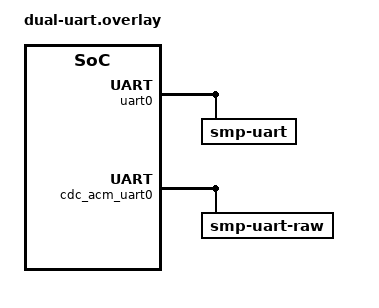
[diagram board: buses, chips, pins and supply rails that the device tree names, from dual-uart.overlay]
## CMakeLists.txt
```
cmake_minimum_required(VERSION 3.28.0)
# Top-level CMakeLists.txt for the skeleton application.
#
# Copyright (c) 2017 Open Source Foundries Limited
#
# SPDX-License-Identifier: Apache-2.0
#
# This provides a basic application structure suitable for communication using
# mcumgr.  It can be used as a starting point for new applications.

# Standard Zephyr application boilerplate.
find_package(Zephyr REQUIRED HINTS $ENV{ZEPHYR_BASE})
project(smp_svr)

target_sources(app PRIVATE src/main.c)
target_sources_ifdef(CONFIG_MCUMGR_TRANSPORT_BT app PRIVATE src/bluetooth.c)

if(CONFIG_MCUMGR_TRANSPORT_UDP_DTLS)
  # Use dummy certificate files
  set(cert_dir certificates)
  set(cert_files echo-apps-cert.der;echo-apps-key.der)
  set(gen_dir ${ZEPHYR_BINARY_DIR}/include/generated)

  message(WARNING "Using dummy certificate files, these are provided for demonstration only")

  foreach(inc_file ${cert_files})
    generate_inc_file_for_target(
      app
      ${cert_dir}/${inc_file}
      ${gen_dir}/${inc_file}.inc
    )
  endforeach()

  target_sources(app PRIVATE src/udp_dtls.c)
endif()
```

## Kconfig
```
# Copyright (c) 2025 Nordic Semiconductor ASA
# SPDX-License-Identifier: Apache-2.0

config SMP_SVR_NRF54H20_SAMPLE
	bool
	default y if SOC_NRF54H20_CPUAPP
	select EXPERIMENTAL

source "Kconfig.zephyr"
```

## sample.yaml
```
sample:
  description: Simple Management Protocol sample
  name: smp svr
common:
  sysbuild: true
  build_only: true
tests:
  sample.mcumgr.smp_svr.bt:
    harness: bluetooth
    tags: bluetooth
    extra_args: EXTRA_CONF_FILE="bt.conf"
    platform_allow:
      - nrf52dk/nrf52832
      - nrf52840dk/nrf52840
      - pinnacle_100_dvk
      - mg100
    integration_platforms:
      - nrf52dk/nrf52832
      - nrf52840dk/nrf52840
  sample.mcumgr.smp_svr.bt_static_svc:
    harness: bluetooth
    tags: bluetooth
    extra_args: EXTRA_CONF_FILE="bt.conf"
    extra_configs:
      - CONFIG_MCUMGR_TRANSPORT_BT_DYNAMIC_SVC_REGISTRATION=n
    platform_allow:
      - nrf52840dk/nrf52840
      - pinnacle_100_dvk
      - mg100
    integration_platforms:
      - nrf52840dk/nrf52840
  sample.mcumgr.smp_svr.udp:
    extra_args: EXTRA_CONF_FILE="udp.conf"
    platform_allow:
      - frdm_mcxn947/mcxn947/cpu0
      - mcx_n9xx_evk/mcxn947/cpu0
      - frdm_k64f
    integration_platforms:
      - frdm_k64f
  sample.mcumgr.smp_svr.udp-dtls:
    extra_args:
      - EXTRA_CONF_FILE="udp-dtls.conf"
      - CONFIG_IMG_MANAGER=n
      - SB_CONFIG_BOOTLOADER_NONE=y
    platform_allow:
      - native_sim
    integration_platforms:
      - native_sim
    build_only: true
  sample.mcumgr.smp_svr.udp.802154.subg:
    extra_args: EXTRA_CONF_FILE="udp.conf;802154-subg.conf"
    platform_allow: beagleconnect_freedom
  sample.mcumgr.smp_svr.cdc:
    extra_args:
      - EXTRA_CONF_FILE="cdc.conf"
      - DTC_OVERLAY_FILE="usb.overlay"
    platform_allow:
      - frdm_mcxn947/mcxn947/cpu0
      - mcx_n9xx_evk/mcxn947/cpu0
      - nrf52833dk/nrf52820
      - nrf52833dk/nrf52833
      - nrf52840dk/nrf52840
      - nrf5340dk/nrf5340/cpuapp
      - pinnacle_100_dvk
    integration_platforms:
      - nrf52833dk/nrf52820
      - nrf52833dk/nrf52833
      - nrf52840dk/nrf52840
      - nrf5340dk/nrf5340/cpuapp
  sample.mcumgr.smp_svr.serial:
    extra_args: EXTRA_CONF_FILE="serial.conf"
    platform_allow:
      - frdm_k22f
      - frdm_k64f
      - frdm_k82f
      - frdm_ke17z
      - frdm_ke17z512
      - rddrone_fmuk66
      - twr_ke18f
      - twr_kv58f220m
      - frdm_mcxn947/mcxn947/cpu0
      - mcx_n9xx_evk/mcxn947/cpu0
      - lpcxpresso55s06
      - lpcxpresso55s16
      - lpcxpresso55s28
      - lpcxpresso55s36
      - lpcxpresso55s69/lpc55s69/cpu0
      - mimxrt1010_evk
      - mimxrt1015_evk
      - mimxrt1020_evk
      - mimxrt1024_evk
      - mimxrt1040_evk
      - mimxrt1050_evk/mimxrt1052/hyperflash
      - mimxrt1060_evk/mimxrt1062/qspi
      - mimxrt1062_fmurt6
      - mimxrt1064_evk
      - mimxrt1160_evk/mimxrt1166/cm7
      - mimxrt1170_evk/mimxrt1176/cm7
      - vmu_rt1170/mimxrt1176/cm7
      - mimxrt595_evk/mimxrt595s/cm33
      - mimxrt685_evk/mimxrt685s/cm33
      - rd_rw612_bga
      - nrf52840dk/nrf52840
      - nrf54h20dk/nrf54h20/cpuapp
      - pinnacle_100_dvk
      - mg100
    integration_platforms:
      - nrf52840dk/nrf52840
  # In mcuboot_flags test serial.conf is used for convenience as it is the simplest
  # transport. Transport does not affect flags so it does not really matter which is selected,
  # flags should affect any transport the same way.
  sample.mcumgr.smp_svr.mcuboot_flags.direct_xip_withrevert:
    extra_args:
      - EXTRA_CONF_FILE="serial.conf"
      - SB_CONFIG_MCUBOOT_MODE_DIRECT_XIP_WITH_REVERT=y
    platform_allow:
      - nrf52840dk/nrf52840
      - pinnacle_100_dvk
      - mg100
    integration_platforms:
      - nrf52840dk/nrf52840
  sample.mcumgr.smp_svr.serial-console:
    extra_args: EXTRA_CONF_FILE="serial-console.conf"
    platform_allow:
      - nrf52840dk/nrf52840
      - pinnacle_100_dvk
      - mg100
    integration_platforms:
      - nrf52840dk/nrf52840
  sample.mcumgr.smp_svr.shell:
    extra_args: EXTRA_CONF_FILE="shell.conf"
    platform_allow:
      - frdm_k22f
      - frdm_k64f
      - frdm_k82f
      - frdm_ke17z
      - frdm_ke17z512
      - rddrone_fmuk66
      - twr_ke18f
      - twr_kv58f220m
      - frdm_mcxn947/mcxn947/cpu0
      - mcx_n9xx_evk/mcxn947/cpu0
      - lpcxpresso55s06
      - lpcxpresso55s16
      - lpcxpresso55s28
      - lpcxpresso55s36
      - lpcxpresso55s69/lpc55s69/cpu0
      - mimxrt1010_evk
      - mimxrt1015_evk
      - mimxrt1020_evk
      - mimxrt1024_evk
      - mimxrt1040_evk
      - mimxrt1050_evk/mimxrt1052/hyperflash
      - mimxrt1060_evk/mimxrt1062/qspi
      - mimxrt1062_fmurt6
      - mimxrt1064_evk
      - mimxrt1160_evk/mimxrt1166/cm7
      - mimxrt1170_evk/mimxrt1176/cm7
      - vmu_rt1170/mimxrt1176/cm7
      - mimxrt595_evk/mimxrt595s/cm33
      - mimxrt685_evk/mimxrt685s/cm33
      - rd_rw612_bga
      - nrf52840dk/nrf52840
      - pinnacle_100_dvk
      - mg100
    integration_platforms:
      - nrf52840dk/nrf52840
      - mimxrt1060_evk/mimxrt1062/qspi
      - mimxrt1064_evk
  sample.mcumgr.smp_svr.shell_mgmt:
    extra_args: EXTRA_CONF_FILE="shell-mgmt.conf"
    platform_allow:
      - nrf52840dk/nrf52840
      - pinnacle_100_dvk
      - mg100
    integration_platforms:
      - nrf52840dk/nrf52840
  sample.mcumgr.smp_svr.fs:
    extra_args: EXTRA_CONF_FILE="fs.conf"
    platform_allow:
      - nrf52840dk/nrf52840
      - pinnacle_100_dvk
      - mg100
    integration_platforms:
      - nrf52840dk/nrf52840
  sample.mcumgr.smp_svr.ram_load:
    extra_args: FILE_SUFFIX="ram_load"
    platform_allow:
      - nrf52840dk/nrf52840
    integration_platforms:
      - nrf52840dk/nrf52840
  sample.mcumgr.smp_svr.ram_load.serial:
    extra_args:
      - FILE_SUFFIX="ram_load"
      - EXTRA_CONF_FILE="serial.conf"
    platform_allow:
      - nrf52840dk/nrf52840
      - mimxrt1050_evk/mimxrt1052/hyperflash
  sample.mcumgr.smp_svr.ram_load_revert.serial:
    extra_args:
      - FILE_SUFFIX="ram_load"
      - EXTRA_CONF_FILE="serial.conf"
      - SB_CONFIG_MCUBOOT_MODE_RAM_LOAD_WITH_REVERT=y
      - smp_svr_CONFIG_MCUBOOT_GENERATE_CONFIRMED_IMAGE=y
    platform_allow:
      - mimxrt1050_evk/mimxrt1052/hyperflash
    integration_platforms:
      - mimxrt1050_evk/mimxrt1052/hyperflash
  sample.mcumgr.smp_svr.raw-serial.fs:
    extra_args: EXTRA_CONF_FILE="raw-serial.conf;fs.conf"
    platform_allow:
      - nrf52840dk/nrf52840
    integration_platforms:
      - nrf52840dk/nrf52840
  sample.mcumgr.smp_svr.ti_lpf3_bt_dfu_onchip_v1:
    sysbuild: true
    extra_args:
      - OVERLAY_CONFIG="bt.conf;boards/ti_lpf3_bt_dfu.conf"
      - mcuboot_SNIPPET=ti-max-sectors-onchip-cc27xx
    extra_configs:
      - CONFIG_MCUBOOT_IMGTOOL_SIGN_VERSION="1.0.0+0"
      - CONFIG_BT_DEVICE_NAME="TI Zephyr SMP DFU Onchip V1"
    platform_allow:
      - lp_em_cc2340r5moda
      - lp_em_cc2340r53
      - lp_em_cc2340r53_wcsp
      - lp_em_cc2745r10_q1/cc2745r10_q1
      - lp_em_cc2745r10_q1/cc2755r10
      - lp_em_cc2755p10
      - lp_em_cc2755p20
  sample.mcumgr.smp_svr.ti_lpf3_bt_dfu_onchip_v2:
    sysbuild: true
    extra_args:
      - OVERLAY_CONFIG="bt.conf;boards/ti_lpf3_bt_dfu.conf"
      - mcuboot_SNIPPET=ti-max-sectors-onchip-cc27xx
    extra_configs:
      - CONFIG_MCUBOOT_IMGTOOL_SIGN_VERSION="2.0.0+0"
      - CONFIG_BT_DEVICE_NAME="TI Zephyr SMP DFU Onchip V2"
    platform_allow:
      - lp_em_cc2340r5moda
      - lp_em_cc2340r53
      - lp_em_cc2340r53_wcsp
      - lp_em_cc2745r10_q1/cc2745r10_q1
      - lp_em_cc2745r10_q1/cc2755r10
      - lp_em_cc2755p10
      - lp_em_cc2755p20
  sample.mcumgr.smp_svr.ti_lpf3_bt_dfu_offchip_v1:
    sysbuild: true
    extra_args:
      - OVERLAY_CONFIG="bt.conf;boards/ti_lpf3_bt_dfu.conf"
      - SNIPPET="ti-spi-nor-secondary-app"
      - mcuboot_SNIPPET=ti-spi-nor-secondary-bl
    extra_configs:
      - CONFIG_MCUBOOT_IMGTOOL_SIGN_VERSION="1.0.0+0"
      - CONFIG_BT_DEVICE_NAME="TI Zephyr SMP DFU Offchip V1"
    platform_allow:
      - lp_em_cc2340r5moda
      - lp_em_cc2340r53
      - lp_em_cc2340r53_wcsp
      - lp_em_cc2745r10_q1/cc2745r10_q1
      - lp_em_cc2745r10_q1/cc2755r10
      - lp_em_cc2755p10
      - lp_em_cc2755p20
  sample.mcumgr.smp_svr.ti_lpf3_bt_dfu_offchip_v2:
    sysbuild: true
    extra_args:
      - OVERLAY_CONFIG="bt.conf;boards/ti_lpf3_bt_dfu.conf"
      - SNIPPET="ti-spi-nor-secondary-app"
      - mcuboot_SNIPPET=ti-spi-nor-secondary-bl
    extra_configs:
      - CONFIG_MCUBOOT_IMGTOOL_SIGN_VERSION="2.0.0+0"
      - CONFIG_BT_DEVICE_NAME="TI Zephyr SMP DFU Offchip V2"
    platform_allow:
      - lp_em_cc2340r5moda
      - lp_em_cc2340r53
      - lp_em_cc2340r53_wcsp
      - lp_em_cc2745r10_q1/cc2745r10_q1
      - lp_em_cc2745r10_q1/cc2755r10
      - lp_em_cc2755p10
      - lp_em_cc2755p20
```

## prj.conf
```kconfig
# Enable MCUmgr and dependencies.
CONFIG_NET_BUF=y
CONFIG_ZCBOR=y
CONFIG_CRC=y
CONFIG_MCUMGR=y
CONFIG_STREAM_FLASH=y
CONFIG_FLASH_MAP=y

# Some command handlers require a large stack.
CONFIG_SYSTEM_WORKQUEUE_STACK_MIN_SIZE_APP=2304
CONFIG_MAIN_STACK_SIZE=2176

# Ensure an MCUboot-compatible binary is generated.
CONFIG_BOOTLOADER_MCUBOOT=y

# Enable flash operations.
CONFIG_FLASH=y

# Required by the `taskstat` command.
CONFIG_THREAD_MONITOR=y

# Support for taskstat command
CONFIG_MCUMGR_GRP_OS_TASKSTAT=y

# Enable statistics and statistic names.
CONFIG_STATS=y
CONFIG_STATS_NAMES=y

# Enable most core commands.
CONFIG_FLASH=y
CONFIG_IMG_MANAGER=y
CONFIG_MCUMGR_GRP_IMG=y
CONFIG_MCUMGR_GRP_OS=y
CONFIG_MCUMGR_GRP_STAT=y

# Enable logging
CONFIG_LOG=y
CONFIG_MCUBOOT_UTIL_LOG_LEVEL_WRN=y

# Disable debug logging
CONFIG_LOG_MAX_LEVEL=3
```

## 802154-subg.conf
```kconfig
CONFIG_BT=n

# Disable IPv4
CONFIG_NET_IPV4=n
CONFIG_MCUMGR_TRANSPORT_UDP_IPV4=n

CONFIG_NET_CONFIG_NEED_IPV6=y
CONFIG_NET_CONFIG_NEED_IPV4=n
CONFIG_NET_CONFIG_MY_IPV4_ADDR=""
CONFIG_NET_CONFIG_PEER_IPV4_ADDR=""

CONFIG_NET_L2_IEEE802154=y
# CONFIG_NET_L2_IEEE802154_SHELL=y
CONFIG_NET_L2_IEEE802154_LOG_LEVEL_INF=y

# Uncomment for 868 MHz
#CONFIG_NET_CONFIG_IEEE802154_CHANNEL=0
# Uncomment for 906 MHz:
CONFIG_NET_CONFIG_IEEE802154_CHANNEL=1
```

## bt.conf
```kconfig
CONFIG_BT=y
CONFIG_BT_PERIPHERAL=y

# Allow for large Bluetooth data packets.
CONFIG_BT_L2CAP_TX_MTU=498
CONFIG_BT_BUF_ACL_RX_SIZE=502
CONFIG_BT_BUF_ACL_TX_SIZE=502
CONFIG_BT_CTLR_DATA_LENGTH_MAX=251

# Enable the Bluetooth mcumgr transport (unauthenticated).
CONFIG_MCUMGR_TRANSPORT_BT=y
CONFIG_MCUMGR_TRANSPORT_BT_CONN_PARAM_CONTROL=y

# Enable the Shell mcumgr transport.
CONFIG_BASE64=y
CONFIG_CRC=y
CONFIG_SHELL=y
CONFIG_SHELL_BACKEND_SERIAL=y
CONFIG_MCUMGR_TRANSPORT_SHELL=y

# Enable the mcumgr Packet Reassembly feature over Bluetooth and its configuration dependencies.
# MCUmgr buffer size is optimized to fit one SMP packet divided into five Bluetooth Write Commands,
# transmitted with the maximum possible MTU value: 498 bytes.
CONFIG_MCUMGR_TRANSPORT_BT_REASSEMBLY=y
CONFIG_MCUMGR_TRANSPORT_NETBUF_SIZE=2475
CONFIG_MCUMGR_GRP_OS_MCUMGR_PARAMS=y
CONFIG_MCUMGR_TRANSPORT_WORKQUEUE_STACK_SIZE=4608

# Enable the LittleFS file system.
CONFIG_FILE_SYSTEM=y
CONFIG_FILE_SYSTEM_LITTLEFS=y

# Enable file system commands
CONFIG_MCUMGR_GRP_FS=y

# Enable the storage erase command.
CONFIG_MCUMGR_GRP_ZBASIC=y
CONFIG_MCUMGR_GRP_ZBASIC_STORAGE_ERASE=y

# Disable Bluetooth ping support
CONFIG_BT_CTLR_LE_PING=n

# Disable shell commands that are not needed
CONFIG_CLOCK_CONTROL_NRF_SHELL=n
CONFIG_DEVICE_SHELL=n
CONFIG_DEVMEM_SHELL=n
CONFIG_FLASH_SHELL=n
```

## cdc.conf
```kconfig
# Enable USB subsystem
CONFIG_SERIAL=y
CONFIG_UART_LINE_CTRL=y
CONFIG_CONSOLE=y
CONFIG_UART_MCUMGR=y
CONFIG_USB_DEVICE_STACK_NEXT=y
CONFIG_CDC_ACM_SERIAL_INITIALIZE_AT_BOOT=y
# USB backend is serial device
CONFIG_MCUMGR_TRANSPORT_UART=y
CONFIG_BASE64=y
CONFIG_CRC=y
```

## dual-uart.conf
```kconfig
# SPDX-FileCopyrightText: Copyright The Zephyr Project Contributors
# SPDX-License-Identifier: Apache-2.0

# Enable both MCUmgr UART transports, on the UARTs selected in dual-uart.overlay: SMP over
# console on the console UART and raw on USB CDC ACM.
CONFIG_SERIAL=y
CONFIG_CONSOLE=y
CONFIG_BASE64=y
CONFIG_CRC=y
CONFIG_UART_MCUMGR=y
CONFIG_MCUMGR_TRANSPORT_UART=y
CONFIG_MCUMGR_TRANSPORT_RAW_UART=y
CONFIG_MCUMGR_TRANSPORT_RAW_UART_INPUT_TIMEOUT=y

# Enable USB subsystem
CONFIG_UART_LINE_CTRL=y
CONFIG_USB_DEVICE_STACK_NEXT=y
CONFIG_CDC_ACM_SERIAL_INITIALIZE_AT_BOOT=y
```

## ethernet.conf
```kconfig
# Enable the experimental raw Ethernet MCUmgr transport.
CONFIG_MCUMGR_TRANSPORT_ETHERNET=y

# IEEE Local Experimental EtherType 1; do not use in shipped products.
CONFIG_MCUMGR_TRANSPORT_ETHERNET_ETHERTYPE=0x88B5

# Size the MCUmgr buffer to fit a full Ethernet frame, and let a client query
# that size instead of falling back to its own smaller default.
CONFIG_MCUMGR_TRANSPORT_NETBUF_SIZE=1500
CONFIG_MCUMGR_GRP_OS_MCUMGR_PARAMS=y

# Network settings
CONFIG_NETWORKING=y
CONFIG_NET_L2_ETHERNET=y
CONFIG_NET_NATIVE=y
```

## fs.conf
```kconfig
# Enable the LittleFS file system.
CONFIG_FLASH_MAP=y
CONFIG_FILE_SYSTEM=y
CONFIG_FILE_SYSTEM_LITTLEFS=y

# Add 256 bytes to accommodate upload command (lfs_stat overflows)
CONFIG_SYSTEM_WORKQUEUE_STACK_SIZE=2304

# Enable file system commands
CONFIG_MCUMGR_GRP_FS=y
```

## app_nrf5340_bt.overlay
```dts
/ {
	chosen {
		nordic,pm-ext-flash = &mx25r64;
	};
};
```

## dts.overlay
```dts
/*
 * Basic Device Tree overlay file.
 */

/ {
	chosen {
		/* Use uart0 for the mcumgr UART transport. */
		zephyr,uart-mcumgr = &uart0;
	};
};
```

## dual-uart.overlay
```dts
/*
 * SPDX-FileCopyrightText: Copyright The Zephyr Project Contributors
 *
 * SPDX-License-Identifier: Apache-2.0
 */

/* SMP over console on the console UART, shared with logs, and raw SMP on USB CDC ACM */

&uart0 {
	smp-uart {
		compatible = "zephyr,smp-uart";
	};
};

&zephyr_udc0 {
	cdc_acm_uart0: cdc_acm_uart0 {
		compatible = "zephyr,cdc-acm-uart";
		hw-flow-control;

		smp-uart-raw {
			compatible = "zephyr,smp-uart-raw";
		};
	};
};
```

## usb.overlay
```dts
/*
 * Copyright (c) 2021 Nordic Semiconductor ASA
 *
 * SPDX-License-Identifier: Apache-2.0
 */

/ {
	chosen {
		zephyr,uart-mcumgr = &cdc_acm_uart0;
	};
};

&zephyr_udc0 {
	cdc_acm_uart0: cdc_acm_uart0 {
		compatible = "zephyr,cdc-acm-uart";
		hw-flow-control;
	};
};
```

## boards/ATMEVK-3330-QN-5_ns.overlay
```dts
/*
 * Copyright (c) 2023 Atmosic
 *
 * SPDX-License-Identifier: Apache-2.0
 */

&uart0 {
	status = "okay";
};
```

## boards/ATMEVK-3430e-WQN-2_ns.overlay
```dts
/*
 * Copyright (c) 2023-2024 Atmosic
 *
 * SPDX-License-Identifier: Apache-2.0
 */

&uart0 {
	status = "okay";
};
```

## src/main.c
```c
/*
 * Copyright (c) 2012-2014 Wind River Systems, Inc.
 * Copyright (c) 2020 Prevas A/S
 *
 * SPDX-License-Identifier: Apache-2.0
 */

#include <zephyr/kernel.h>
#include <zephyr/stats/stats.h>
#include <zephyr/usb/usb_device.h>

#ifdef CONFIG_MCUMGR_GRP_FS
#include <zephyr/device.h>
#include <zephyr/fs/fs.h>
#include <zephyr/fs/littlefs.h>
#endif
#ifdef CONFIG_MCUMGR_GRP_STAT
#include <zephyr/mgmt/mcumgr/grp/stat_mgmt/stat_mgmt.h>
#endif
#ifdef CONFIG_MCUMGR_TRANSPORT_UDP_DTLS
#include <zephyr/mgmt/mcumgr/transport/smp_udp.h>
#endif
#ifdef CONFIG_MCUMGR_TRANSPORT_ETHERNET
#include <zephyr/net/net_if.h>
#include <zephyr/net/ethernet.h>
#endif

#define LOG_LEVEL LOG_LEVEL_DBG
#include <zephyr/logging/log.h>
LOG_MODULE_REGISTER(smp_sample);

#include "common.h"

#define STORAGE_PARTITION_LABEL	storage_partition
#define STORAGE_PARTITION_ID	PARTITION_ID(STORAGE_PARTITION_LABEL)

/* Define an example stats group; approximates seconds since boot. */
STATS_SECT_START(smp_svr_stats)
STATS_SECT_ENTRY(ticks)
STATS_SECT_END;

/* Assign a name to the `ticks` stat. */
STATS_NAME_START(smp_svr_stats)
STATS_NAME(smp_svr_stats, ticks)
STATS_NAME_END(smp_svr_stats);

/* Define an instance of the stats group. */
STATS_SECT_DECL(smp_svr_stats) smp_svr_stats;

#ifdef CONFIG_MCUMGR_GRP_FS
FS_LITTLEFS_DECLARE_DEFAULT_CONFIG(cstorage);
static struct fs_mount_t littlefs_mnt = {
	.type = FS_LITTLEFS,
	.fs_data = &cstorage,
	.storage_dev = (void *)STORAGE_PARTITION_ID,
	.mnt_point = "/lfs1"
};
#endif

#ifdef CONFIG_MCUMGR_TRANSPORT_ETHERNET
static void print_iface_mac(struct net_if *iface, void *user_data)
{
	struct net_linkaddr *ll = net_if_get_link_addr(iface);

	ARG_UNUSED(user_data);

	if (ll->type != NET_LINK_ETHERNET || ll->len != NET_ETH_ADDR_LEN) {
		return;
	}

	LOG_INF("SMP eth iface %d MAC %02x:%02x:%02x:%02x:%02x:%02x", net_if_get_by_iface(iface),
		ll->addr[0], ll->addr[1], ll->addr[2], ll->addr[3], ll->addr[4], ll->addr[5]);
}
#endif

int main(void)
{
	int rc = STATS_INIT_AND_REG(smp_svr_stats, STATS_SIZE_32,
				    "smp_svr_stats");

	if (rc < 0) {
		LOG_ERR("Error initializing stats system [%d]", rc);
	}

	/* Register the built-in mcumgr command handlers. */
#ifdef CONFIG_MCUMGR_GRP_FS
	rc = fs_mount(&littlefs_mnt);
	if (rc < 0) {
		LOG_ERR("Error mounting littlefs [%d]", rc);
	}
#endif

#ifdef CONFIG_MCUMGR_TRANSPORT_UDP_DTLS
	rc = setup_udp_dtls();

	if (rc == 0) {
		rc = smp_udp_open();

		if (rc != 0) {
			LOG_ERR("UDP transport open failed: %d", rc);
		}
	} else {
		LOG_ERR("TLS init failed, cannot start UDP transport");
	}
#endif

#ifdef CONFIG_MCUMGR_TRANSPORT_BT
	start_smp_bluetooth_adverts();
#endif

#ifdef CONFIG_MCUMGR_TRANSPORT_ETHERNET
	net_if_foreach(print_iface_mac, NULL);
#endif

	/* using __TIME__ ensure that a new binary will be built on every
	 * compile which is convenient when testing firmware upgrade.
	 */
	LOG_INF("build time: " __DATE__ " " __TIME__);

	/* The system work queue handles all incoming mcumgr requests.  Let the
	 * main thread idle while the mcumgr server runs.
	 */
	while (1) {
		k_sleep(K_MSEC(1000));
		STATS_INC(smp_svr_stats, ticks);
	}
	return 0;
}
```

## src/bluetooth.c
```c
/*
 * Copyright (c) 2012-2014 Wind River Systems, Inc.
 * Copyright (c) 2020 Prevas A/S
 *
 * SPDX-License-Identifier: Apache-2.0
 */

#include <zephyr/bluetooth/bluetooth.h>
#include <zephyr/bluetooth/conn.h>
#include <zephyr/bluetooth/gatt.h>
#include <zephyr/bluetooth/hci.h>
#include <zephyr/mgmt/mcumgr/transport/smp_bt.h>

#define LOG_LEVEL LOG_LEVEL_DBG
#include <zephyr/logging/log.h>
LOG_MODULE_REGISTER(smp_bt_sample);

static struct k_work advertise_work;

static const struct bt_data ad[] = {
	BT_DATA_BYTES(BT_DATA_FLAGS, (BT_LE_AD_GENERAL | BT_LE_AD_NO_BREDR)),
	BT_DATA_BYTES(BT_DATA_UUID128_ALL, SMP_BT_SVC_UUID_VAL),
};

static const struct bt_data sd[] = {
	BT_DATA(BT_DATA_NAME_COMPLETE, CONFIG_BT_DEVICE_NAME, sizeof(CONFIG_BT_DEVICE_NAME) - 1),
};

static void advertise(struct k_work *work)
{
	int rc;

	rc = bt_le_adv_start(BT_LE_ADV_CONN_FAST_1, ad, ARRAY_SIZE(ad), sd, ARRAY_SIZE(sd));
	if (rc) {
		LOG_ERR("Advertising failed to start (rc %d)", rc);
		return;
	}

	LOG_INF("Advertising successfully started");
}

static void connected(struct bt_conn *conn, uint8_t err)
{
	if (err) {
		LOG_ERR("Connection failed, err 0x%02x %s", err, bt_hci_err_to_str(err));
		k_work_submit(&advertise_work);
	} else {
		struct bt_conn_info info;
		char peer[BT_ADDR_LE_STR_LEN] = "unknown";
		int32_t rc;

		rc = bt_conn_get_info(conn, &info);
		if (rc != 0) {
			LOG_WRN("Failed to get connection info (rc %d)", rc);
		} else {
			bt_addr_le_to_str(info.le.remote, peer, sizeof(peer));
		}

		LOG_INF("Connected, peer %s", peer);
	}
}

static void disconnected(struct bt_conn *conn, uint8_t reason)
{
	struct bt_conn_info info;
	char peer[BT_ADDR_LE_STR_LEN] = "unknown";
	int32_t rc;

	rc = bt_conn_get_info(conn, &info);
	if (rc != 0) {
		LOG_WRN("Failed to get connection info (rc %d)", rc);
	} else {
		bt_addr_le_to_str(info.le.remote, peer, sizeof(peer));
	}

	LOG_INF("Disconnected, reason 0x%02x %s, peer %s", reason,
		bt_hci_err_to_str(reason), peer);
}

static void on_conn_recycled(void)
{
	k_work_submit(&advertise_work);
}

BT_CONN_CB_DEFINE(conn_callbacks) = {
	.connected = connected,
	.disconnected = disconnected,
	.recycled = on_conn_recycled,
};

static void bt_ready(int err)
{
	if (err != 0) {
		LOG_ERR("Bluetooth failed to initialise: %d", err);
	} else {
		k_work_submit(&advertise_work);
	}
}

void start_smp_bluetooth_adverts(void)
{
	int rc;

	k_work_init(&advertise_work, advertise);
	rc = bt_enable(bt_ready);

	if (rc != 0) {
		LOG_ERR("Bluetooth enable failed: %d", rc);
	}
}
```

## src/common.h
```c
/*
 * Copyright (c) 2020 Prevas A/S
 *
 * SPDX-License-Identifier: Apache-2.0
 */

void start_smp_bluetooth_adverts(void);
int setup_udp_dtls(void);
```

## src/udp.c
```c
/*
 * Copyright (c) 2020 Prevas A/S
 *
 * SPDX-License-Identifier: Apache-2.0
 */

#include <zephyr/net/net_mgmt.h>
#include <zephyr/net/net_event.h>
#include <zephyr/net/net_conn_mgr.h>
#include <zephyr/mgmt/mcumgr/transport/smp_udp.h>

#define LOG_LEVEL LOG_LEVEL_DBG
#include <zephyr/logging/log.h>
LOG_MODULE_REGISTER(smp_udp_sample);

#define EVENT_MASK (NET_EVENT_L4_CONNECTED | NET_EVENT_L4_DISCONNECTED)

static struct net_mgmt_event_callback mgmt_cb;

static void event_handler(struct net_mgmt_event_callback *cb,
			  uint32_t mgmt_event, struct net_if *iface)
{
	if ((mgmt_event & EVENT_MASK) != mgmt_event) {
		return;
	}

	if (mgmt_event == NET_EVENT_L4_CONNECTED) {
		LOG_INF("Network connected");

		if (smp_udp_open() < 0) {
			LOG_ERR("could not open smp udp");
		}

		return;
	}

	if (mgmt_event == NET_EVENT_L4_DISCONNECTED) {
		LOG_INF("Network disconnected");
		smp_udp_close();
		return;
	}
}

void start_smp_udp(void)
{
	net_mgmt_init_event_callback(&mgmt_cb, event_handler, EVENT_MASK);
	net_mgmt_add_event_callback(&mgmt_cb);
	net_conn_mgr_resend_status();
}
```

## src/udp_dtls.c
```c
/*
 * Copyright (c) 2025 Nordic Semiconductor ASA
 *
 * SPDX-License-Identifier: Apache-2.0
 */

#include <zephyr/kernel.h>
#include <zephyr/net/tls_credentials.h>
#include <zephyr/logging/log.h>

LOG_MODULE_DECLARE(smp_sample);

static const unsigned char server_certificate[] = {
#include "echo-apps-cert.der.inc"
};

/* This is the private key in pkcs#8 format. */
static const unsigned char private_key[] = {
#include "echo-apps-key.der.inc"
};

int setup_udp_dtls(void)
{
	int rc;

	rc = tls_credential_add(CONFIG_MCUMGR_TRANSPORT_UDP_DTLS_TLS_TAG,
				TLS_CREDENTIAL_PUBLIC_CERTIFICATE, server_certificate,
				sizeof(server_certificate));

	if (rc < 0) {
		LOG_ERR("Failed to register public certificate: %d", rc);
		return rc;
	}

	rc = tls_credential_add(CONFIG_MCUMGR_TRANSPORT_UDP_DTLS_TLS_TAG,
				TLS_CREDENTIAL_PRIVATE_KEY, private_key, sizeof(private_key));

	if (rc < 0) {
		LOG_ERR("Failed to register private key: %d", rc);
	}

	return rc;
}
```
